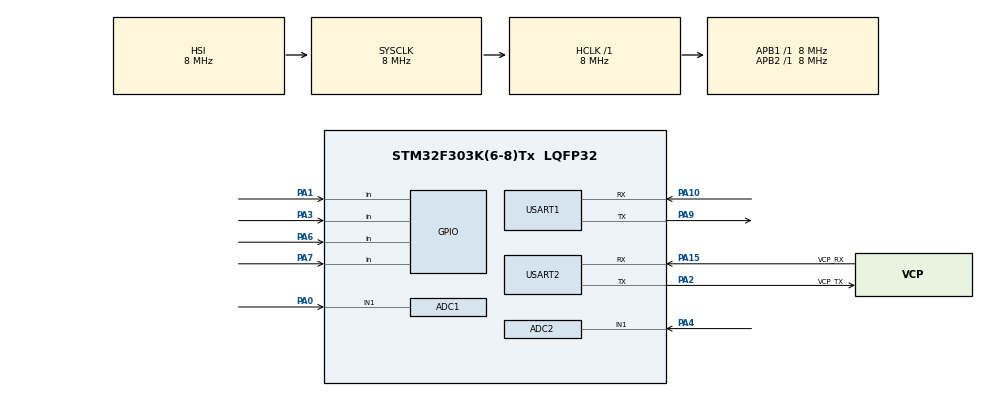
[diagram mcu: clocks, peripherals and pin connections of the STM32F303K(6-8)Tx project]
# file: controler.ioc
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ADC1.Channel-0\#ChannelRegularConversion=ADC_CHANNEL_1
ADC1.NbrOfConversionFlag=1
ADC1.Offset-0\#ChannelRegularConversion=0
ADC1.OffsetNumber-0\#ChannelRegularConversion=ADC_OFFSET_NONE
ADC1.Rank-0\#ChannelRegularConversion=1
ADC1.SamplingTime-0\#ChannelRegularConversion=ADC_SAMPLETIME_1CYCLE_5
ADC1.SamplingTimeOPAMP-0\#ChannelRegularConversion=ADC_SAMPLETIME_4CYCLES_5
ADC1.SubFamily=STM32F303x8
ADC1.master=1
ADC2.Channel-0\#ChannelRegularConversion=ADC_CHANNEL_1
ADC2.NbrOfConversionFlag=1
ADC2.Offset-0\#ChannelRegularConversion=0
ADC2.OffsetNumber-0\#ChannelRegularConversion=ADC_OFFSET_NONE
ADC2.Rank-0\#ChannelRegularConversion=1
ADC2.SamplingTime-0\#ChannelRegularConversion=ADC_SAMPLETIME_1CYCLE_5
ADC2.SubFamily=STM32F303x8
Mcu.Family=STM32F3
Mcu.Name=STM32F303K(6-8)Tx
Mcu.Package=LQFP32
NVIC.PriorityGroup=NVIC_PRIORITYGROUP_4
NVIC.USART2_IRQn=true\:0\:0\:false\:false\:true\:true\:true\:true
PA0.Mode=IN1-Single-Ended
PA0.Signal=ADC1_IN1
PA1.GPIO_PuPd=GPIO_PULLUP
PA1.Signal=GPIO_Input
PA10.Mode=Asynchronous
PA10.Signal=USART1_RX
PA13.GPIO_Label=SWDIO
PA13.Mode=Serial_Wire
PA13.Signal=SYS_JTMS-SWDIO
PA14.GPIO_Label=SWCLK
PA14.Mode=Serial_Wire
PA14.Signal=SYS_JTCK-SWCLK
PA15.GPIO_Label=VCP_RX
PA15.Mode=Asynchronous
PA15.Signal=USART2_RX
PA2.GPIO_Label=VCP_TX
PA2.Mode=Asynchronous
PA2.Signal=USART2_TX
PA3.GPIO_PuPd=GPIO_PULLUP
PA3.Signal=GPIO_Input
PA4.Mode=IN1-Single-Ended
PA4.Signal=ADC2_IN1
PA6.GPIO_PuPd=GPIO_PULLUP
PA6.Signal=GPIO_Input
PA7.GPIO_PuPd=GPIO_PULLUP
PA7.Signal=GPIO_Input
PA9.Mode=Asynchronous
PA9.Signal=USART1_TX
PF0\ /\ OSC_IN.GPIO_Label=MCO
PF0\ /\ OSC_IN.Mode=HSE-External-Clock-Source
PF0\ /\ OSC_IN.Signal=RCC_OSC_IN
ProjectManager.HeapSize=0x200
ProjectManager.StackSize=0x400
ProjectManager.TargetToolchain=STM32CubeIDE
RCC.AHBFreq_Value=8000000
RCC.APB1Freq_Value=8000000
RCC.APB2Freq_Value=8000000
RCC.CortexFreq_Value=8000000
RCC.HSE_VALUE=8000000
RCC.HSI_VALUE=8000000
RCC.SYSCLKFreq_VALUE=8000000
USART1.VirtualMode-Asynchronous=VM_ASYNC
USART2.VirtualMode-Asynchronous=VM_ASYNC
board=NUCLEO-F303K8

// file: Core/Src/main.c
/* USER CODE BEGIN Header */
/**
  ******************************************************************************
  * @file           : main.c
  * @brief          : Main program body
  ******************************************************************************
  * @attention
  *
  * Copyright (c) 2023 STMicroelectronics.
  * All rights reserved.
  *
  * This software is licensed under terms that can be found in the LICENSE file
  * in the root directory of this software component.
  * If no LICENSE file comes with this software, it is provided AS-IS.
  *
  ******************************************************************************
  */
/* USER CODE END Header */
#include "main.h"

/* USER CODE BEGIN Includes */
#include <stdio.h>
#include <math.h>
#include <string.h>
/* USER CODE END Includes */

ADC_HandleTypeDef hadc1;
ADC_HandleTypeDef hadc2;

UART_HandleTypeDef huart1;
UART_HandleTypeDef huart2;

void SystemClock_Config(void);
static void MX_GPIO_Init(void);
static void MX_USART2_UART_Init(void);
static void MX_ADC1_Init(void);
static void MX_ADC2_Init(void);
static void MX_USART1_UART_Init(void);

/* USER CODE BEGIN 0 */
#define N 64
/* USER CODE END 0 */

int main(void)
{
  /* USER CODE BEGIN 1 */
	float x,y,arg,r,a;
	uint8_t adcout[N];
	int dash,above,gather;
  /* USER CODE END 1 */

  /* MCU Configuration--------------------------------------------------------*/

  /* Reset of all peripherals, Initializes the Flash interface and the Systick. */
  HAL_Init();

  /* Configure the system clock */
  SystemClock_Config();

  /* Initialize all configured peripherals */
  MX_GPIO_Init();
  MX_USART2_UART_Init();
  MX_ADC1_Init();
  MX_ADC2_Init();
  MX_USART1_UART_Init();

  /* Infinite loop */
  /* USER CODE BEGIN WHILE */
  while (1)
  {
	  a=1600.0;
	  memset(adcout,'\0',N);

	  HAL_ADC_Start(&hadc1);
	  HAL_ADC_Start(&hadc2);
	  HAL_ADC_PollForConversion(&hadc1, 10);
	  HAL_ADC_PollForConversion(&hadc2, 10);
	  HAL_ADC_Stop(&hadc1);
	  HAL_ADC_Stop(&hadc2);

	  x = HAL_ADC_GetValue(&hadc1)-a;
	  y = HAL_ADC_GetValue(&hadc2)-a;

	  arg = atan2(y,x);
	  r = (x/cos(arg) + y/sin(arg)) / 2;

	  if(HAL_GPIO_ReadPin(GPIOA, GPIO_PIN_1)==GPIO_PIN_RESET)
	  {
		  dash=1;
	  }
	  else
	  {
		  dash=0;
	  }

	  if(HAL_GPIO_ReadPin(GPIOA, GPIO_PIN_6)==GPIO_PIN_RESET)
	  {
		  above=1;
	  }
	  else
	  {
		  above=0;
	  }

	  if((HAL_GPIO_ReadPin(GPIOA, GPIO_PIN_3)==GPIO_PIN_RESET)&&(HAL_GPIO_ReadPin(GPIOA, GPIO_PIN_7)==GPIO_PIN_RESET))
	  {
		  gather=0;
	  }
	  else if(HAL_GPIO_ReadPin(GPIOA, GPIO_PIN_3)==GPIO_PIN_RESET)
	  {
		  gather=1;
	  }
	  else if(HAL_GPIO_ReadPin(GPIOA, GPIO_PIN_7)==GPIO_PIN_RESET)
	  {
		  gather=-1;
	  }
	  else
	  {
		  gather=0;
	  }
    /* USER CODE END WHILE */

    /* USER CODE BEGIN 3 */
	  snprintf((char*)adcout,N,"R:%6.1f,Arg:%6.1f,Dash:%d,Above:%d,Gather:%2d\n\r",r,arg*180.0/M_PI,dash,above,gather);
	  //snprintf((char*)adcout,N,"X:%5.0f,Y:%5.0f\n\r",x,y);

	  HAL_UART_Transmit(&huart2, adcout, N, HAL_MAX_DELAY);
	  HAL_UART_Transmit(&huart1, adcout, N, HAL_MAX_DELAY);

  }
  /* USER CODE END 3 */
}

void SystemClock_Config(void)
{
  RCC_OscInitTypeDef RCC_OscInitStruct = {0};
  RCC_ClkInitTypeDef RCC_ClkInitStruct = {0};
  RCC_PeriphCLKInitTypeDef PeriphClkInit = {0};

  /** Initializes the RCC Oscillators according to the specified parameters
  * in the RCC_OscInitTypeDef structure.
  */
  RCC_OscInitStruct.OscillatorType = RCC_OSCILLATORTYPE_HSI;
  RCC_OscInitStruct.HSIState = RCC_HSI_ON;
  RCC_OscInitStruct.HSICalibrationValue = RCC_HSICALIBRATION_DEFAULT;
  RCC_OscInitStruct.PLL.PLLState = RCC_PLL_ON;
  RCC_OscInitStruct.PLL.PLLSource = RCC_PLLSOURCE_HSI;
  RCC_OscInitStruct.PLL.PLLMUL = RCC_PLL_MUL2;
  if (HAL_RCC_OscConfig(&RCC_OscInitStruct) != HAL_OK)
  {
    Error_Handler();
  }

  /** Initializes the CPU, AHB and APB buses clocks
  */
  RCC_ClkInitStruct.ClockType = RCC_CLOCKTYPE_HCLK|RCC_CLOCKTYPE_SYSCLK
                              |RCC_CLOCKTYPE_PCLK1|RCC_CLOCKTYPE_PCLK2;
  RCC_ClkInitStruct.SYSCLKSource = RCC_SYSCLKSOURCE_HSI;
  RCC_ClkInitStruct.AHBCLKDivider = RCC_SYSCLK_DIV1;
  RCC_ClkInitStruct.APB1CLKDivider = RCC_HCLK_DIV1;
  RCC_ClkInitStruct.APB2CLKDivider = RCC_HCLK_DIV1;

  if (HAL_RCC_ClockConfig(&RCC_ClkInitStruct, FLASH_LATENCY_0) != HAL_OK)
  {
    Error_Handler();
  }
  PeriphClkInit.PeriphClockSelection = RCC_PERIPHCLK_USART1|RCC_PERIPHCLK_ADC12;
  PeriphClkInit.Usart1ClockSelection = RCC_USART1CLKSOURCE_PCLK1;
  PeriphClkInit.Adc12ClockSelection = RCC_ADC12PLLCLK_DIV1;
  if (HAL_RCCEx_PeriphCLKConfig(&PeriphClkInit) != HAL_OK)
  {
    Error_Handler();
  }
}

static void MX_ADC1_Init(void)
{

  ADC_MultiModeTypeDef multimode = {0};
  ADC_ChannelConfTypeDef sConfig = {0};

  /** Common config
  */
  hadc1.Instance = ADC1;
  hadc1.Init.ClockPrescaler = ADC_CLOCK_ASYNC_DIV1;
  hadc1.Init.Resolution = ADC_RESOLUTION_12B;
  hadc1.Init.ScanConvMode = ADC_SCAN_DISABLE;
  hadc1.Init.ContinuousConvMode = DISABLE;
  hadc1.Init.DiscontinuousConvMode = DISABLE;
  hadc1.Init.ExternalTrigConvEdge = ADC_EXTERNALTRIGCONVEDGE_NONE;
  hadc1.Init.ExternalTrigConv = ADC_SOFTWARE_START;
  hadc1.Init.DataAlign = ADC_DATAALIGN_RIGHT;
  hadc1.Init.NbrOfConversion = 1;
  hadc1.Init.DMAContinuousRequests = DISABLE;
  hadc1.Init.EOCSelection = ADC_EOC_SINGLE_CONV;
  hadc1.Init.LowPowerAutoWait = DISABLE;
  hadc1.Init.Overrun = ADC_OVR_DATA_OVERWRITTEN;
  if (HAL_ADC_Init(&hadc1) != HAL_OK)
  {
    Error_Handler();
  }

  /** Configure the ADC multi-mode
  */
  multimode.Mode = ADC_MODE_INDEPENDENT;
  if (HAL_ADCEx_MultiModeConfigChannel(&hadc1, &multimode) != HAL_OK)
  {
    Error_Handler();
  }

  /** Configure Regular Channel
  */
  sConfig.Channel = ADC_CHANNEL_1;
  sConfig.Rank = ADC_REGULAR_RANK_1;
  sConfig.SingleDiff = ADC_SINGLE_ENDED;
  sConfig.SamplingTime = ADC_SAMPLETIME_1CYCLE_5;
  sConfig.OffsetNumber = ADC_OFFSET_NONE;
  sConfig.Offset = 0;
  if (HAL_ADC_ConfigChannel(&hadc1, &sConfig) != HAL_OK)
  {
    Error_Handler();
  }

}

static void MX_ADC2_Init(void)
{

  ADC_ChannelConfTypeDef sConfig = {0};

  /** Common config
  */
  hadc2.Instance = ADC2;
  hadc2.Init.ClockPrescaler = ADC_CLOCK_ASYNC_DIV1;
  hadc2.Init.Resolution = ADC_RESOLUTION_12B;
  hadc2.Init.ScanConvMode = ADC_SCAN_DISABLE;
  hadc2.Init.ContinuousConvMode = DISABLE;
  hadc2.Init.DiscontinuousConvMode = DISABLE;
  hadc2.Init.ExternalTrigConvEdge = ADC_EXTERNALTRIGCONVEDGE_NONE;
  hadc2.Init.ExternalTrigConv = ADC_SOFTWARE_START;
  hadc2.Init.DataAlign = ADC_DATAALIGN_RIGHT;
  hadc2.Init.NbrOfConversion = 1;
  hadc2.Init.DMAContinuousRequests = DISABLE;
  hadc2.Init.EOCSelection = ADC_EOC_SINGLE_CONV;
  hadc2.Init.LowPowerAutoWait = DISABLE;
  hadc2.Init.Overrun = ADC_OVR_DATA_OVERWRITTEN;
  if (HAL_ADC_Init(&hadc2) != HAL_OK)
  {
    Error_Handler();
  }

  /** Configure Regular Channel
  */
  sConfig.Channel = ADC_CHANNEL_1;
  sConfig.Rank = ADC_REGULAR_RANK_1;
  sConfig.SingleDiff = ADC_SINGLE_ENDED;
  sConfig.SamplingTime = ADC_SAMPLETIME_1CYCLE_5;
  sConfig.OffsetNumber = ADC_OFFSET_NONE;
  sConfig.Offset = 0;
  if (HAL_ADC_ConfigChannel(&hadc2, &sConfig) != HAL_OK)
  {
    Error_Handler();
  }

}

static void MX_USART1_UART_Init(void)
{

  huart1.Instance = USART1;
  huart1.Init.BaudRate = 38400;
  huart1.Init.WordLength = UART_WORDLENGTH_8B;
  huart1.Init.StopBits = UART_STOPBITS_1;
  huart1.Init.Parity = UART_PARITY_NONE;
  huart1.Init.Mode = UART_MODE_TX_RX;
  huart1.Init.HwFlowCtl = UART_HWCONTROL_NONE;
  huart1.Init.OverSampling = UART_OVERSAMPLING_16;
  huart1.Init.OneBitSampling = UART_ONE_BIT_SAMPLE_DISABLE;
  huart1.AdvancedInit.AdvFeatureInit = UART_ADVFEATURE_NO_INIT;
  if (HAL_UART_Init(&huart1) != HAL_OK)
  {
    Error_Handler();
  }

}

static void MX_USART2_UART_Init(void)
{

  huart2.Instance = USART2;
  huart2.Init.BaudRate = 38400;
  huart2.Init.WordLength = UART_WORDLENGTH_8B;
  huart2.Init.StopBits = UART_STOPBITS_1;
  huart2.Init.Parity = UART_PARITY_NONE;
  huart2.Init.Mode = UART_MODE_TX_RX;
  huart2.Init.HwFlowCtl = UART_HWCONTROL_NONE;
  huart2.Init.OverSampling = UART_OVERSAMPLING_16;
  huart2.Init.OneBitSampling = UART_ONE_BIT_SAMPLE_DISABLE;
  huart2.AdvancedInit.AdvFeatureInit = UART_ADVFEATURE_NO_INIT;
  if (HAL_UART_Init(&huart2) != HAL_OK)
  {
    Error_Handler();
  }

}

static void MX_GPIO_Init(void)
{
  GPIO_InitTypeDef GPIO_InitStruct = {0};

  /* GPIO Ports Clock Enable */
  __HAL_RCC_GPIOF_CLK_ENABLE();
  __HAL_RCC_GPIOA_CLK_ENABLE();

  /*Configure GPIO pins : PA1 PA3 PA6 PA7 */
  GPIO_InitStruct.Pin = GPIO_PIN_1|GPIO_PIN_3|GPIO_PIN_6|GPIO_PIN_7;
  GPIO_InitStruct.Mode = GPIO_MODE_INPUT;
  GPIO_InitStruct.Pull = GPIO_PULLUP;
  HAL_GPIO_Init(GPIOA, &GPIO_InitStruct);

}

void Error_Handler(void)
{
  __disable_irq();
  while (1)
  {
  }
}
